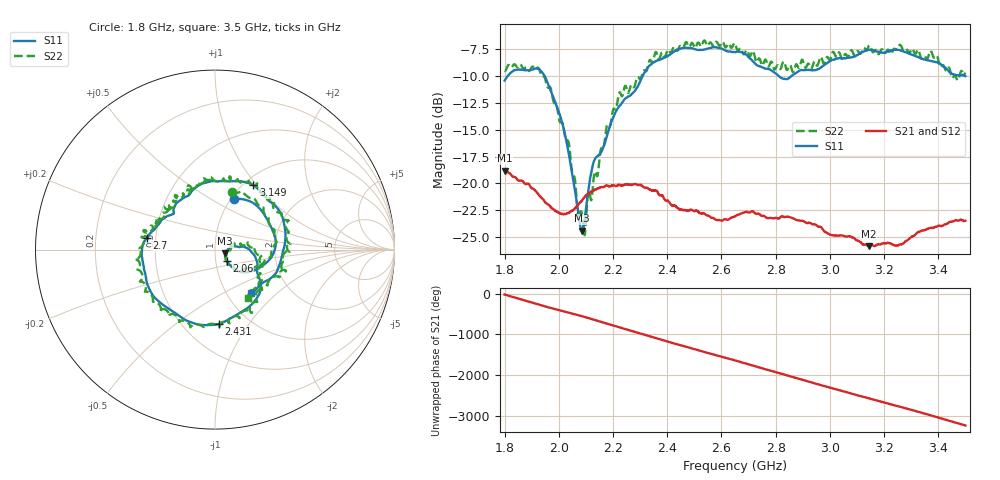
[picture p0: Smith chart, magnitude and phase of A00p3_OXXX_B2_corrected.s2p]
! Created with skrf 1.9.0 (http://scikit-rf.org).
# Hz S RI R 50.0
!freq ReS11 ImS11 ReS21 ImS21 ReS12 ImS12 ReS22 ImS22
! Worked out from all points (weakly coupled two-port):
!   1601 points, 1.8 GHz to 3.5 GHz, reference 50 ohm
!   highest |S21| = -18.82 dB at 1.8 GHz (marker M1); lowest = -25.8 dB at 3.143 GHz (marker M2)
!   lowest |S11| = -24.4 dB at 2.086 GHz (marker M3), VSWR 1.13, Z = 56 - j2.24 ohm
!   |S11| at or under -10 dB: start of sweep to 1.812 GHz; 1.947 GHz to 2.31 GHz (362.7 MHz wide, 17 % of centre); 2.81 GHz to 2.859 GHz (48.88 MHz wide, 1.72 % of centre)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
!   |S22| runs from -24.8 to -6.7 dB; largest |S21 - S12| = 0.002
!   S11 on the Smith chart (normalised r, x): 1.8 GHz: 1.04, +0.64; 2.06 GHz: 1.13, -0.14; 2.431 GHz: 0.73, -0.73; 2.7 GHz: 0.45, +0.07; 3.149 GHz: 1.11, +0.96; 3.5 GHz: 1.29, -0.70
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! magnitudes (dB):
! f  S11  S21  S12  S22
! 1.8 GHz  -10.4  -18.8  -18.8  -9.5
! 1.943 GHz  -9.8  -21.5  -21.5  -10.0
! 2.013 GHz  -14.4  -22.8  -22.8  -14.3
! 2.036 GHz  -17.1  -22.8  -22.7  -16.1
! 2.06 GHz  -20.8  -22.3  -22.3  -19.8
! 2.084 GHz  -24.4  -21.6  -21.6  -22.6
! 2.086 GHz  -24.4  -21.6  -21.6  -23.0
! 2.095 GHz  -23.3  -21.3  -21.3  -24.8
! 2.127 GHz  -18.1  -20.7  -20.7  -19.8
! 2.223 GHz  -12.8  -20.1  -20.2  -11.6
! 2.367 GHz  -8.5  -21.0  -20.9  -8.4
! 2.431 GHz  -7.7  -22.1  -22.1  -7.5
! 2.65 GHz  -7.8  -23.1  -23.0  -7.0
! 2.7 GHz  -8.3  -22.7  -22.6  -7.9
! 2.831 GHz  -10.3  -23.1  -23.0  -8.7
! 2.934 GHz  -9.5  -23.8  -23.8  -9.3
! 3.143 GHz  -7.6  -25.8  -25.7  -7.2
! 3.149 GHz  -7.6  -25.7  -25.8  -7.3
! 3.217 GHz  -7.7  -25.5  -25.5  -7.7
! 3.373 GHz  -8.6  -24.1  -24.1  -7.7
! 3.456 GHz  -9.9  -23.5  -23.5  -10.1
! 3.5 GHz  -10.0  -23.5  -23.4  -9.7
